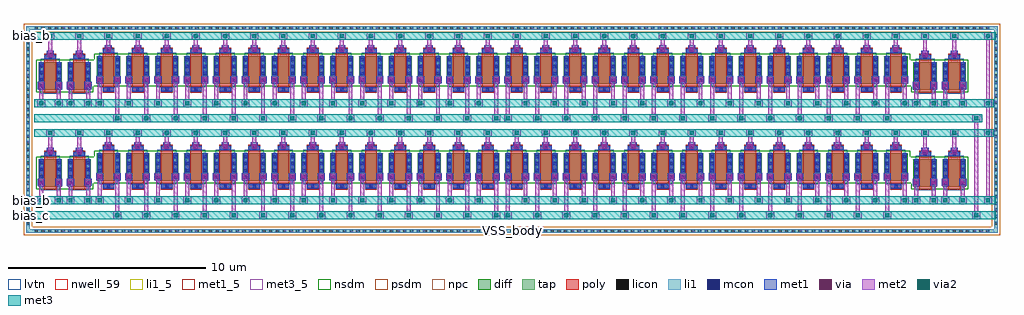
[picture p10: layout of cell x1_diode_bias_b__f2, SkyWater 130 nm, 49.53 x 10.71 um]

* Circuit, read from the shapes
.subckt x1_diode_bias_b__f2 VSS_body bias_b bias_c
XM1 bias_b bias_b bias_b VSS_body sky130_fd_pr__nfet_01v8_lvt w=1.4 l=0.6 m=8
XM2 bias_c bias_b bias_b VSS_body sky130_fd_pr__nfet_01v8_lvt w=1.4 l=0.6 m=56
.ends

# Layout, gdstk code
from math import pi, radians
import gdstk
lib = gdstk.Library(unit=1e-6, precision=1e-09)
def R(c, l, rs):  # rectangles x0, y0, x1, y1
    for r in rs: c.add(gdstk.rectangle(r[:2], r[2:], *l))
def A(c, l, x, y, w, h, nx, ny, dx, dy):  # array of equal rectangles
    R(c, l, [(x+i*dx, y+j*dy, x+i*dx+w, y+j*dy+h) for i in range(nx) for j in range(ny)])
nwell_59 = (64, 59)
diff = (65, 20)
tap = (65, 44)
poly = (66, 20)
licon = (66, 44)
li1_5 = (67, 5)
li1 = (67, 20)
mcon = (67, 44)
met1_5 = (68, 5)
met1 = (68, 20)
via = (68, 44)
met2 = (69, 20)
via2 = (69, 44)
met3_5 = (70, 5)
met3 = (70, 20)
nsdm = (93, 44)
psdm = (94, 20)
npc = (95, 20)
lvtn = (125, 44)

sky130_fd_pr__nfet_01v8_ = lib.new_cell('sky130_fd_pr__nfet_01v8_lvt_RUA5M6')
R(sky130_fd_pr__nfet_01v8_, diff, [(-0.59,-0.855,0.59,0.545)])
R(sky130_fd_pr__nfet_01v8_, poly, [(-0.3,-0.985,0.3,0.985)])
A(sky130_fd_pr__nfet_01v8_, licon, -0.53, -0.75, 0.17, 0.17, 1, 4, 0, 0.34)
A(sky130_fd_pr__nfet_01v8_, licon, 0.36, -0.75, 0.17, 0.17, 1, 4, 0, 0.34)
R(sky130_fd_pr__nfet_01v8_, licon, [(-0.085,0.735,0.085,0.905)])
R(sky130_fd_pr__nfet_01v8_, li1, [(-0.53,-0.875,-0.36,0.565), (0.36,-0.875,0.53,0.565), (-0.3,0.735,0.3,0.905)])
A(sky130_fd_pr__nfet_01v8_, mcon, -0.53, -0.78, 0.17, 0.17, 1, 4, 0, 0.36)
A(sky130_fd_pr__nfet_01v8_, mcon, 0.36, -0.78, 0.17, 0.17, 1, 4, 0, 0.36)
R(sky130_fd_pr__nfet_01v8_, mcon, [(-0.085,0.735,0.085,0.905)])
R(sky130_fd_pr__nfet_01v8_, met1, [(-0.56,-0.855,-0.33,0.545), (0.33,-0.855,0.56,0.545), (-0.28,0.705,0.28,0.935)])
R(sky130_fd_pr__nfet_01v8_, nsdm, [(-0.715,-0.98,0.715,0.67)])
R(sky130_fd_pr__nfet_01v8_, npc, [(-0.185,0.635,0.185,1.005)])
R(sky130_fd_pr__nfet_01v8_, lvtn, [(-0.48,-1.035,0.48,0.725)])
sky130_fd_pr__nfet_01v8_.add(gdstk.Label('D', (-0.445,-0.155), layer=67, texttype=5))
sky130_fd_pr__nfet_01v8_.add(gdstk.Label('S', (0.445,-0.155), layer=67, texttype=5))
sky130_fd_pr__nfet_01v8_.add(gdstk.Label('G', (0,0.82), layer=67, texttype=5))

nfet_01v8_lvt_w1p4_l0p6_ = lib.new_cell('nfet_01v8_lvt_W1p4_L0p6_m8__nf1_gtop_sdfull_ng')
R(nfet_01v8_lvt_w1p4_l0p6_, nwell_59, [(0.05,0.78,0.15,0.88)])
R(nfet_01v8_lvt_w1p4_l0p6_, met1_5, [(0.03,0.83,0.26,1.03), (0.92,0.83,1.15,1.03), (0.31,1.69,0.87,1.92)])
R(nfet_01v8_lvt_w1p4_l0p6_, met1, [(0.03,0.83,0.26,1.03), (0.92,0.83,1.15,1.03), (0.31,1.69,0.87,1.92)])
nfet_01v8_lvt_w1p4_l0p6_.add(gdstk.Reference(sky130_fd_pr__nfet_01v8_, (0.59,0.985)))
nfet_01v8_lvt_w1p4_l0p6_.add(gdstk.Label('D', (0.145,0.93), layer=68, texttype=5))
nfet_01v8_lvt_w1p4_l0p6_.add(gdstk.Label('S', (1.035,0.93), layer=68, texttype=5))
nfet_01v8_lvt_w1p4_l0p6_.add(gdstk.Label('G', (0.59,1.805), layer=68, texttype=5))
nfet_01v8_lvt_w1p4_l0p6_.add(gdstk.Label('B', (0.1,0.83), layer=64, texttype=59))

c_sky130_fd_pr__nfet_01v8_ = lib.new_cell('sky130_fd_pr__nfet_01v8_lvt_KCM6UP')
R(c_sky130_fd_pr__nfet_01v8_, diff, [(-0.59,-0.7,0.59,0.7)])
R(c_sky130_fd_pr__nfet_01v8_, poly, [(-0.3,-1.14,0.3,1.14)])
A(c_sky130_fd_pr__nfet_01v8_, licon, -0.53, -0.595, 0.17, 0.17, 1, 4, 0, 0.34)
A(c_sky130_fd_pr__nfet_01v8_, licon, 0.36, -0.595, 0.17, 0.17, 1, 4, 0, 0.34)
R(c_sky130_fd_pr__nfet_01v8_, licon, [(-0.085,-1.06,0.085,-0.89), (-0.085,0.89,0.085,1.06)])
R(c_sky130_fd_pr__nfet_01v8_, li1, [(-0.3,-1.06,0.3,-0.89), (-0.53,-0.72,-0.36,0.72), (0.36,-0.72,0.53,0.72), (-0.3,0.89,0.3,1.06)])
A(c_sky130_fd_pr__nfet_01v8_, mcon, -0.53, -0.625, 0.17, 0.17, 1, 4, 0, 0.36)
A(c_sky130_fd_pr__nfet_01v8_, mcon, 0.36, -0.625, 0.17, 0.17, 1, 4, 0, 0.36)
R(c_sky130_fd_pr__nfet_01v8_, mcon, [(-0.085,-1.06,0.085,-0.89), (-0.085,0.89,0.085,1.06)])
R(c_sky130_fd_pr__nfet_01v8_, met1, [(-0.28,-1.09,0.28,-0.86), (-0.56,-0.7,-0.33,0.7), (0.33,-0.7,0.56,0.7), (-0.28,0.86,0.28,1.09)])
R(c_sky130_fd_pr__nfet_01v8_, nsdm, [(-0.715,-0.825,0.715,0.825)])
R(c_sky130_fd_pr__nfet_01v8_, npc, [(-0.185,-1.16,0.185,-0.79), (-0.185,0.79,0.185,1.16)])
R(c_sky130_fd_pr__nfet_01v8_, lvtn, [(-0.48,-0.88,0.48,0.88)])
c_sky130_fd_pr__nfet_01v8_.add(gdstk.Label('D', (-0.445,0), layer=67, texttype=5))
c_sky130_fd_pr__nfet_01v8_.add(gdstk.Label('S', (0.445,0), layer=67, texttype=5))
c_sky130_fd_pr__nfet_01v8_.add(gdstk.Label('G', (0,0.975), layer=67, texttype=5))

c_nfet_01v8_lvt_w1p4_l0p6_ = lib.new_cell('nfet_01v8_lvt_W1p4_L0p6_m56__nf1_gboth_sdfull_ng')
R(c_nfet_01v8_lvt_w1p4_l0p6_, nwell_59, [(0.05,1.09,0.15,1.19)])
R(c_nfet_01v8_lvt_w1p4_l0p6_, met1_5, [(0.03,1.14,0.26,1.34), (0.92,1.14,1.15,1.34), (0.31,2,0.87,2.23)])
R(c_nfet_01v8_lvt_w1p4_l0p6_, met1, [(0.03,1.14,0.26,1.34), (0.92,1.14,1.15,1.34), (0.31,2,0.87,2.23)])
c_nfet_01v8_lvt_w1p4_l0p6_.add(gdstk.Reference(c_sky130_fd_pr__nfet_01v8_, (0.59,1.14)))
c_nfet_01v8_lvt_w1p4_l0p6_.add(gdstk.Label('D', (0.145,1.24), layer=68, texttype=5))
c_nfet_01v8_lvt_w1p4_l0p6_.add(gdstk.Label('S', (1.035,1.24), layer=68, texttype=5))
c_nfet_01v8_lvt_w1p4_l0p6_.add(gdstk.Label('G', (0.59,2.115), layer=68, texttype=5))
c_nfet_01v8_lvt_w1p4_l0p6_.add(gdstk.Label('B', (0.1,1.14), layer=64, texttype=59))

x1_diode_bias_b__f2 = lib.new_cell('x1_diode_bias_b__f2')
R(x1_diode_bias_b__f2, tap, [(-0.485,-2.185,48.795,-2.015), (-0.485,-2.015,-0.315,8.105), (48.625,-2.015,48.795,8.105), (-0.485,8.105,48.795,8.275)])
A(x1_diode_bias_b__f2, licon, -0.07, -2.185, 0.17, 0.17, 143, 2, 0.34, 10.29)
A(x1_diode_bias_b__f2, licon, -0.485, -1.8, 0.17, 0.17, 1, 29, 0, 0.34)
A(x1_diode_bias_b__f2, licon, 48.625, -1.8, 0.17, 0.17, 1, 29, 0, 0.34)
R(x1_diode_bias_b__f2, li1_5, [(24.105,-2.15,24.205,-2.05)])
R(x1_diode_bias_b__f2, li1, [(-0.485,-2.185,48.795,-2.015), (-0.485,-2.015,-0.315,8.105), (48.625,-2.015,48.795,8.105), (-0.485,8.105,48.795,8.275)])
A(x1_diode_bias_b__f2, met1, 3.495, 2.05, 0.36, 0.36, 28, 2, 1.48, 4.92)
R(x1_diode_bias_b__f2, met1, [(0.09,0.18,0.45,0.54), (0.98,0.18,1.34,0.54), (1.57,0.18,1.93,0.54), (2.46,0.18,2.82,0.54), (44.49,0.18,44.85,0.54), (45.38,0.18,45.74,0.54), (45.97,0.18,46.33,0.54), (46.86,0.18,47.22,0.54), (3.05,0.46,3.41,0.82), (3.94,0.46,4.3,0.82), (4.53,0.46,4.89,0.82), (5.42,0.46,5.78,0.82), (6.01,0.46,6.37,0.82), (6.9,0.46,7.26,0.82), (7.49,0.46,7.85,0.82), (8.38,0.46,8.74,0.82), (8.97,0.46,9.33,0.82), (9.86,0.46,10.22,0.82), (10.45,0.46,10.81,0.82), (11.34,0.46,11.7,0.82), (11.93,0.46,12.29,0.82), (12.82,0.46,13.18,0.82), (13.41,0.46,13.77,0.82), (14.3,0.46,14.66,0.82), (14.89,0.46,15.25,0.82), (15.78,0.46,16.14,0.82), (16.37,0.46,16.73,0.82), (17.26,0.46,17.62,0.82), (17.85,0.46,18.21,0.82), (18.74,0.46,19.1,0.82), (19.33,0.46,19.69,0.82), (20.22,0.46,20.58,0.82), (20.81,0.46,21.17,0.82), (21.7,0.46,22.06,0.82), (22.29,0.46,22.65,0.82), (23.18,0.46,23.54,0.82), (23.77,0.46,24.13,0.82), (24.66,0.46,25.02,0.82), (25.25,0.46,25.61,0.82), (26.14,0.46,26.5,0.82), (26.73,0.46,27.09,0.82), (27.62,0.46,27.98,0.82), (28.21,0.46,28.57,0.82), (29.1,0.46,29.46,0.82), (29.69,0.46,30.05,0.82), (30.58,0.46,30.94,0.82), (31.17,0.46,31.53,0.82), (32.06,0.46,32.42,0.82), (32.65,0.46,33.01,0.82), (33.54,0.46,33.9,0.82), (34.13,0.46,34.49,0.82), (35.02,0.46,35.38,0.82), (35.61,0.46,35.97,0.82), (36.5,0.46,36.86,0.82), (37.09,0.46,37.45,0.82), (37.98,0.46,38.34,0.82), (38.57,0.46,38.93,0.82), (39.46,0.46,39.82,0.82), (40.05,0.46,40.41,0.82), (40.94,0.46,41.3,0.82), (41.53,0.46,41.89,0.82), (42.42,0.46,42.78,0.82), (43.01,0.46,43.37,0.82), (43.9,0.46,44.26,0.82), (0.535,1.77,0.895,2.13), (2.015,1.77,2.375,2.13), (44.935,1.77,45.295,2.13), (46.415,1.77,46.775,2.13), (0.09,5.1,0.45,5.46), (0.98,5.1,1.34,5.46), (1.57,5.1,1.93,5.46), (2.46,5.1,2.82,5.46), (44.49,5.1,44.85,5.46), (45.38,5.1,45.74,5.46), (45.97,5.1,46.33,5.46), (46.86,5.1,47.22,5.46), (3.05,5.38,3.41,5.74), (3.94,5.38,4.3,5.74), (4.53,5.38,4.89,5.74), (5.42,5.38,5.78,5.74), (6.01,5.38,6.37,5.74), (6.9,5.38,7.26,5.74), (7.49,5.38,7.85,5.74), (8.38,5.38,8.74,5.74), (8.97,5.38,9.33,5.74), (9.86,5.38,10.22,5.74), (10.45,5.38,10.81,5.74), (11.34,5.38,11.7,5.74), (11.93,5.38,12.29,5.74), (12.82,5.38,13.18,5.74), (13.41,5.38,13.77,5.74), (14.3,5.38,14.66,5.74), (14.89,5.38,15.25,5.74), (15.78,5.38,16.14,5.74), (16.37,5.38,16.73,5.74), (17.26,5.38,17.62,5.74), (17.85,5.38,18.21,5.74), (18.74,5.38,19.1,5.74), (19.33,5.38,19.69,5.74), (20.22,5.38,20.58,5.74), (20.81,5.38,21.17,5.74), (21.7,5.38,22.06,5.74), (22.29,5.38,22.65,5.74), (23.18,5.38,23.54,5.74), (23.77,5.38,24.13,5.74), (24.66,5.38,25.02,5.74), (25.25,5.38,25.61,5.74), (26.14,5.38,26.5,5.74), (26.73,5.38,27.09,5.74), (27.62,5.38,27.98,5.74), (28.21,5.38,28.57,5.74), (29.1,5.38,29.46,5.74), (29.69,5.38,30.05,5.74), (30.58,5.38,30.94,5.74), (31.17,5.38,31.53,5.74), (32.06,5.38,32.42,5.74), (32.65,5.38,33.01,5.74), (33.54,5.38,33.9,5.74), (34.13,5.38,34.49,5.74), (35.02,5.38,35.38,5.74), (35.61,5.38,35.97,5.74), (36.5,5.38,36.86,5.74), (37.09,5.38,37.45,5.74), (37.98,5.38,38.34,5.74), (38.57,5.38,38.93,5.74), (39.46,5.38,39.82,5.74), (40.05,5.38,40.41,5.74), (40.94,5.38,41.3,5.74), (41.53,5.38,41.89,5.74), (42.42,5.38,42.78,5.74), (43.01,5.38,43.37,5.74), (43.9,5.38,44.26,5.74), (0.535,6.69,0.895,7.05), (2.015,6.69,2.375,7.05), (44.935,6.69,45.295,7.05), (46.415,6.69,46.775,7.05)])
A(x1_diode_bias_b__f2, via, 3.6, 2.155, 0.15, 0.15, 28, 2, 1.48, 4.92)
R(x1_diode_bias_b__f2, via, [(0.195,0.285,0.345,0.435), (1.085,0.285,1.235,0.435), (1.675,0.285,1.825,0.435), (2.565,0.285,2.715,0.435), (44.595,0.285,44.745,0.435), (45.485,0.285,45.635,0.435), (46.075,0.285,46.225,0.435), (46.965,0.285,47.115,0.435), (3.155,0.565,3.305,0.715), (4.045,0.565,4.195,0.715), (4.635,0.565,4.785,0.715), (5.525,0.565,5.675,0.715), (6.115,0.565,6.265,0.715), (7.005,0.565,7.155,0.715), (7.595,0.565,7.745,0.715), (8.485,0.565,8.635,0.715), (9.075,0.565,9.225,0.715), (9.965,0.565,10.115,0.715), (10.555,0.565,10.705,0.715), (11.445,0.565,11.595,0.715), (12.035,0.565,12.185,0.715), (12.925,0.565,13.075,0.715), (13.515,0.565,13.665,0.715), (14.405,0.565,14.555,0.715), (14.995,0.565,15.145,0.715), (15.885,0.565,16.035,0.715), (16.475,0.565,16.625,0.715), (17.365,0.565,17.515,0.715), (17.955,0.565,18.105,0.715), (18.845,0.565,18.995,0.715), (19.435,0.565,19.585,0.715), (20.325,0.565,20.475,0.715), (20.915,0.565,21.065,0.715), (21.805,0.565,21.955,0.715), (22.395,0.565,22.545,0.715), (23.285,0.565,23.435,0.715), (23.875,0.565,24.025,0.715), (24.765,0.565,24.915,0.715), (25.355,0.565,25.505,0.715), (26.245,0.565,26.395,0.715), (26.835,0.565,26.985,0.715), (27.725,0.565,27.875,0.715), (28.315,0.565,28.465,0.715), (29.205,0.565,29.355,0.715), (29.795,0.565,29.945,0.715), (30.685,0.565,30.835,0.715), (31.275,0.565,31.425,0.715), (32.165,0.565,32.315,0.715), (32.755,0.565,32.905,0.715), (33.645,0.565,33.795,0.715), (34.235,0.565,34.385,0.715), (35.125,0.565,35.275,0.715), (35.715,0.565,35.865,0.715), (36.605,0.565,36.755,0.715), (37.195,0.565,37.345,0.715), (38.085,0.565,38.235,0.715), (38.675,0.565,38.825,0.715), (39.565,0.565,39.715,0.715), (40.155,0.565,40.305,0.715), (41.045,0.565,41.195,0.715), (41.635,0.565,41.785,0.715), (42.525,0.565,42.675,0.715), (43.115,0.565,43.265,0.715), (44.005,0.565,44.155,0.715), (0.64,1.875,0.79,2.025), (2.12,1.875,2.27,2.025), (45.04,1.875,45.19,2.025), (46.52,1.875,46.67,2.025), (0.195,5.205,0.345,5.355), (1.085,5.205,1.235,5.355), (1.675,5.205,1.825,5.355), (2.565,5.205,2.715,5.355), (44.595,5.205,44.745,5.355), (45.485,5.205,45.635,5.355), (46.075,5.205,46.225,5.355), (46.965,5.205,47.115,5.355), (3.155,5.485,3.305,5.635), (4.045,5.485,4.195,5.635), (4.635,5.485,4.785,5.635), (5.525,5.485,5.675,5.635), (6.115,5.485,6.265,5.635), (7.005,5.485,7.155,5.635), (7.595,5.485,7.745,5.635), (8.485,5.485,8.635,5.635), (9.075,5.485,9.225,5.635), (9.965,5.485,10.115,5.635), (10.555,5.485,10.705,5.635), (11.445,5.485,11.595,5.635), (12.035,5.485,12.185,5.635), (12.925,5.485,13.075,5.635), (13.515,5.485,13.665,5.635), (14.405,5.485,14.555,5.635), (14.995,5.485,15.145,5.635), (15.885,5.485,16.035,5.635), (16.475,5.485,16.625,5.635), (17.365,5.485,17.515,5.635), (17.955,5.485,18.105,5.635), (18.845,5.485,18.995,5.635), (19.435,5.485,19.585,5.635), (20.325,5.485,20.475,5.635), (20.915,5.485,21.065,5.635), (21.805,5.485,21.955,5.635), (22.395,5.485,22.545,5.635), (23.285,5.485,23.435,5.635), (23.875,5.485,24.025,5.635), (24.765,5.485,24.915,5.635), (25.355,5.485,25.505,5.635), (26.245,5.485,26.395,5.635), (26.835,5.485,26.985,5.635), (27.725,5.485,27.875,5.635), (28.315,5.485,28.465,5.635), (29.205,5.485,29.355,5.635), (29.795,5.485,29.945,5.635), (30.685,5.485,30.835,5.635), (31.275,5.485,31.425,5.635), (32.165,5.485,32.315,5.635), (32.755,5.485,32.905,5.635), (33.645,5.485,33.795,5.635), (34.235,5.485,34.385,5.635), (35.125,5.485,35.275,5.635), (35.715,5.485,35.865,5.635), (36.605,5.485,36.755,5.635), (37.195,5.485,37.345,5.635), (38.085,5.485,38.235,5.635), (38.675,5.485,38.825,5.635), (39.565,5.485,39.715,5.635), (40.155,5.485,40.305,5.635), (41.045,5.485,41.195,5.635), (41.635,5.485,41.785,5.635), (42.525,5.485,42.675,5.635), (43.115,5.485,43.265,5.635), (44.005,5.485,44.155,5.635), (0.64,6.795,0.79,6.945), (2.12,6.795,2.27,6.945), (45.04,6.795,45.19,6.945), (46.52,6.795,46.67,6.945)])
A(x1_diode_bias_b__f2, met2, 3.92, -1.5, 0.4, 0.4, 14, 2, 1.48, 4.92)
A(x1_diode_bias_b__f2, met2, 23.75, -1.5, 0.4, 0.4, 14, 2, 1.48, 4.92)
A(x1_diode_bias_b__f2, met2, 4.02, -1.1, 0.2, 1.58, 14, 2, 1.48, 4.92)
A(x1_diode_bias_b__f2, met2, 23.85, -1.1, 0.2, 1.58, 14, 2, 1.48, 4.92)
A(x1_diode_bias_b__f2, met2, 3.03, -0.75, 0.4, 0.4, 14, 2, 1.48, 4.92)
A(x1_diode_bias_b__f2, met2, 24.64, -0.75, 0.4, 0.4, 14, 2, 1.48, 4.92)
A(x1_diode_bias_b__f2, met2, 3.13, -0.35, 0.2, 0.83, 14, 2, 1.48, 4.92)
A(x1_diode_bias_b__f2, met2, 24.74, -0.35, 0.2, 0.83, 14, 2, 1.48, 4.92)
A(x1_diode_bias_b__f2, met2, 3.545, 2.07, 0.26, 0.32, 28, 2, 1.48, 4.92)
A(x1_diode_bias_b__f2, met2, 3.575, 2.39, 0.2, 0.28, 28, 2, 1.48, 4.92)
A(x1_diode_bias_b__f2, met2, 0.515, 2.67, 0.4, 0.4, 32, 2, 1.48, 4.92)
R(x1_diode_bias_b__f2, met2, [(47.51,-1.5,47.91,-1.1), (47.61,-1.1,47.81,3.42), (0.07,-0.75,0.47,-0.35), (0.96,-0.75,1.36,-0.35), (1.55,-0.75,1.95,-0.35), (2.44,-0.75,2.84,-0.35), (44.47,-0.75,44.87,-0.35), (45.36,-0.75,45.76,-0.35), (45.95,-0.75,46.35,-0.35), (46.84,-0.75,47.24,-0.35), (48.11,-0.75,48.51,-0.35), (0.17,-0.35,0.37,0.2), (1.06,-0.35,1.26,0.2), (1.65,-0.35,1.85,0.2), (2.54,-0.35,2.74,0.2), (44.57,-0.35,44.77,0.2), (45.46,-0.35,45.66,0.2), (46.05,-0.35,46.25,0.2), (46.94,-0.35,47.14,0.2), (48.21,-0.35,48.41,2.67), (0.14,0.2,0.4,0.52), (1.03,0.2,1.29,0.52), (1.62,0.2,1.88,0.52), (2.51,0.2,2.77,0.52), (44.54,0.2,44.8,0.52), (45.43,0.2,45.69,0.52), (46.02,0.2,46.28,0.52), (46.91,0.2,47.17,0.52), (3.1,0.48,3.36,0.8), (3.99,0.48,4.25,0.8), (4.58,0.48,4.84,0.8), (5.47,0.48,5.73,0.8), (6.06,0.48,6.32,0.8), (6.95,0.48,7.21,0.8), (7.54,0.48,7.8,0.8), (8.43,0.48,8.69,0.8), (9.02,0.48,9.28,0.8), (9.91,0.48,10.17,0.8), (10.5,0.48,10.76,0.8), (11.39,0.48,11.65,0.8), (11.98,0.48,12.24,0.8), (12.87,0.48,13.13,0.8), (13.46,0.48,13.72,0.8), (14.35,0.48,14.61,0.8), (14.94,0.48,15.2,0.8), (15.83,0.48,16.09,0.8), (16.42,0.48,16.68,0.8), (17.31,0.48,17.57,0.8), (17.9,0.48,18.16,0.8), (18.79,0.48,19.05,0.8), (19.38,0.48,19.64,0.8), (20.27,0.48,20.53,0.8), (20.86,0.48,21.12,0.8), (21.75,0.48,22.01,0.8), (22.34,0.48,22.6,0.8), (23.23,0.48,23.49,0.8), (23.82,0.48,24.08,0.8), (24.71,0.48,24.97,0.8), (25.3,0.48,25.56,0.8), (26.19,0.48,26.45,0.8), (26.78,0.48,27.04,0.8), (27.67,0.48,27.93,0.8), (28.26,0.48,28.52,0.8), (29.15,0.48,29.41,0.8), (29.74,0.48,30,0.8), (30.63,0.48,30.89,0.8), (31.22,0.48,31.48,0.8), (32.11,0.48,32.37,0.8), (32.7,0.48,32.96,0.8), (33.59,0.48,33.85,0.8), (34.18,0.48,34.44,0.8), (35.07,0.48,35.33,0.8), (35.66,0.48,35.92,0.8), (36.55,0.48,36.81,0.8), (37.14,0.48,37.4,0.8), (38.03,0.48,38.29,0.8), (38.62,0.48,38.88,0.8), (39.51,0.48,39.77,0.8), (40.1,0.48,40.36,0.8), (40.99,0.48,41.25,0.8), (41.58,0.48,41.84,0.8), (42.47,0.48,42.73,0.8), (43.06,0.48,43.32,0.8), (43.95,0.48,44.21,0.8), (0.585,1.79,0.845,2.11), (2.065,1.79,2.325,2.11), (44.985,1.79,45.245,2.11), (46.465,1.79,46.725,2.11), (0.615,2.11,0.815,2.67), (2.095,2.11,2.295,2.67), (45.015,2.11,45.215,2.67), (46.495,2.11,46.695,2.67), (48.11,2.67,48.51,3.07), (48.21,3.07,48.41,4.17), (47.51,3.42,47.91,3.82), (0.07,4.17,0.47,4.57), (0.96,4.17,1.36,4.57), (1.55,4.17,1.95,4.57), (2.44,4.17,2.84,4.57), (44.47,4.17,44.87,4.57), (45.36,4.17,45.76,4.57), (45.95,4.17,46.35,4.57), (46.84,4.17,47.24,4.57), (48.11,4.17,48.51,4.57), (0.17,4.57,0.37,5.12), (1.06,4.57,1.26,5.12), (1.65,4.57,1.85,5.12), (2.54,4.57,2.74,5.12), (44.57,4.57,44.77,5.12), (45.46,4.57,45.66,5.12), (46.05,4.57,46.25,5.12), (46.94,4.57,47.14,5.12), (48.21,4.57,48.41,7.59), (0.14,5.12,0.4,5.44), (1.03,5.12,1.29,5.44), (1.62,5.12,1.88,5.44), (2.51,5.12,2.77,5.44), (44.54,5.12,44.8,5.44), (45.43,5.12,45.69,5.44), (46.02,5.12,46.28,5.44), (46.91,5.12,47.17,5.44), (3.1,5.4,3.36,5.72), (3.99,5.4,4.25,5.72), (4.58,5.4,4.84,5.72), (5.47,5.4,5.73,5.72), (6.06,5.4,6.32,5.72), (6.95,5.4,7.21,5.72), (7.54,5.4,7.8,5.72), (8.43,5.4,8.69,5.72), (9.02,5.4,9.28,5.72), (9.91,5.4,10.17,5.72), (10.5,5.4,10.76,5.72), (11.39,5.4,11.65,5.72), (11.98,5.4,12.24,5.72), (12.87,5.4,13.13,5.72), (13.46,5.4,13.72,5.72), (14.35,5.4,14.61,5.72), (14.94,5.4,15.2,5.72), (15.83,5.4,16.09,5.72), (16.42,5.4,16.68,5.72), (17.31,5.4,17.57,5.72), (17.9,5.4,18.16,5.72), (18.79,5.4,19.05,5.72), (19.38,5.4,19.64,5.72), (20.27,5.4,20.53,5.72), (20.86,5.4,21.12,5.72), (21.75,5.4,22.01,5.72), (22.34,5.4,22.6,5.72), (23.23,5.4,23.49,5.72), (23.82,5.4,24.08,5.72), (24.71,5.4,24.97,5.72), (25.3,5.4,25.56,5.72), (26.19,5.4,26.45,5.72), (26.78,5.4,27.04,5.72), (27.67,5.4,27.93,5.72), (28.26,5.4,28.52,5.72), (29.15,5.4,29.41,5.72), (29.74,5.4,30,5.72), (30.63,5.4,30.89,5.72), (31.22,5.4,31.48,5.72), (32.11,5.4,32.37,5.72), (32.7,5.4,32.96,5.72), (33.59,5.4,33.85,5.72), (34.18,5.4,34.44,5.72), (35.07,5.4,35.33,5.72), (35.66,5.4,35.92,5.72), (36.55,5.4,36.81,5.72), (37.14,5.4,37.4,5.72), (38.03,5.4,38.29,5.72), (38.62,5.4,38.88,5.72), (39.51,5.4,39.77,5.72), (40.1,5.4,40.36,5.72), (40.99,5.4,41.25,5.72), (41.58,5.4,41.84,5.72), (42.47,5.4,42.73,5.72), (43.06,5.4,43.32,5.72), (43.95,5.4,44.21,5.72), (0.585,6.71,0.845,7.03), (2.065,6.71,2.325,7.03), (44.985,6.71,45.245,7.03), (46.465,6.71,46.725,7.03), (0.615,7.03,0.815,7.59), (2.095,7.03,2.295,7.59), (45.015,7.03,45.215,7.59), (46.495,7.03,46.695,7.59), (48.11,7.59,48.51,7.99)])
A(x1_diode_bias_b__f2, via2, 4.02, -1.4, 0.2, 0.2, 14, 2, 1.48, 4.92)
A(x1_diode_bias_b__f2, via2, 23.85, -1.4, 0.2, 0.2, 14, 2, 1.48, 4.92)
A(x1_diode_bias_b__f2, via2, 3.13, -0.65, 0.2, 0.2, 14, 2, 1.48, 4.92)
A(x1_diode_bias_b__f2, via2, 24.74, -0.65, 0.2, 0.2, 14, 2, 1.48, 4.92)
A(x1_diode_bias_b__f2, via2, 0.615, 2.77, 0.2, 0.2, 32, 2, 1.48, 4.92)
R(x1_diode_bias_b__f2, via2, [(47.61,-1.4,47.81,-1.2), (0.17,-0.65,0.37,-0.45), (1.06,-0.65,1.26,-0.45), (1.65,-0.65,1.85,-0.45), (2.54,-0.65,2.74,-0.45), (44.57,-0.65,44.77,-0.45), (45.46,-0.65,45.66,-0.45), (46.05,-0.65,46.25,-0.45), (46.94,-0.65,47.14,-0.45), (48.21,-0.65,48.41,-0.45), (48.21,2.77,48.41,2.97), (47.61,3.52,47.81,3.72), (0.17,4.27,0.37,4.47), (1.06,4.27,1.26,4.47), (1.65,4.27,1.85,4.47), (2.54,4.27,2.74,4.47), (44.57,4.27,44.77,4.47), (45.46,4.27,45.66,4.47), (46.05,4.27,46.25,4.47), (46.94,4.27,47.14,4.47), (48.21,4.27,48.41,4.47), (48.21,7.69,48.41,7.89)])
R(x1_diode_bias_b__f2, met3_5, [(-0.3,-1.35,-0.2,-1.25), (-0.3,-0.6,-0.2,-0.5), (-0.3,7.74,-0.2,7.84)])
R(x1_diode_bias_b__f2, met3, [(-0.4,-1.5,48.71,-1.1), (-0.4,-0.75,48.71,-0.35), (-0.1,2.67,48.61,3.07), (-0.1,3.42,48.01,3.82), (-0.1,4.17,48.61,4.57), (-0.4,7.59,48.71,7.99)])
A(x1_diode_bias_b__f2, nsdm, 4.395, 0.315, 0.05, 1.65, 27, 2, 1.48, 4.92)
R(x1_diode_bias_b__f2, nsdm, [(1.435,0.005,1.485,1.655), (45.835,0.005,45.885,1.655), (2.915,0.315,2.965,1.655), (44.355,0.315,44.405,1.655), (1.435,4.925,1.485,6.575), (45.835,4.925,45.885,6.575), (2.915,5.235,2.965,6.575), (44.355,5.235,44.405,6.575)])
R(x1_diode_bias_b__f2, psdm, [(-0.61,-2.31,48.92,-1.89), (-0.61,-1.89,-0.19,7.98), (48.5,-1.89,48.92,7.98), (-0.61,7.98,48.92,8.4)])
x1_diode_bias_b__f2.add(gdstk.Reference(nfet_01v8_lvt_w1p4_l0p6_, (46.01,4.92)))
x1_diode_bias_b__f2.add(gdstk.Reference(nfet_01v8_lvt_w1p4_l0p6_, (44.53,4.92)))
x1_diode_bias_b__f2.add(gdstk.Reference(nfet_01v8_lvt_w1p4_l0p6_, (1.61,4.92)))
x1_diode_bias_b__f2.add(gdstk.Reference(nfet_01v8_lvt_w1p4_l0p6_, (0.13,4.92)))
x1_diode_bias_b__f2.add(gdstk.Reference(nfet_01v8_lvt_w1p4_l0p6_, (46.01,0)))
x1_diode_bias_b__f2.add(gdstk.Reference(nfet_01v8_lvt_w1p4_l0p6_, (44.53,0)))
x1_diode_bias_b__f2.add(gdstk.Reference(nfet_01v8_lvt_w1p4_l0p6_, (1.61,0)))
x1_diode_bias_b__f2.add(gdstk.Reference(nfet_01v8_lvt_w1p4_l0p6_, (0.13,0)))
x1_diode_bias_b__f2.add(gdstk.Reference(c_nfet_01v8_lvt_w1p4_l0p6_, (3.09,0)))
x1_diode_bias_b__f2.add(gdstk.Reference(c_nfet_01v8_lvt_w1p4_l0p6_, (4.57,0)))
x1_diode_bias_b__f2.add(gdstk.Reference(c_nfet_01v8_lvt_w1p4_l0p6_, (6.05,0)))
x1_diode_bias_b__f2.add(gdstk.Reference(c_nfet_01v8_lvt_w1p4_l0p6_, (7.53,0)))
x1_diode_bias_b__f2.add(gdstk.Reference(c_nfet_01v8_lvt_w1p4_l0p6_, (9.01,0)))
x1_diode_bias_b__f2.add(gdstk.Reference(c_nfet_01v8_lvt_w1p4_l0p6_, (10.49,0)))
x1_diode_bias_b__f2.add(gdstk.Reference(c_nfet_01v8_lvt_w1p4_l0p6_, (11.97,0)))
x1_diode_bias_b__f2.add(gdstk.Reference(c_nfet_01v8_lvt_w1p4_l0p6_, (13.45,0)))
x1_diode_bias_b__f2.add(gdstk.Reference(c_nfet_01v8_lvt_w1p4_l0p6_, (14.93,0)))
x1_diode_bias_b__f2.add(gdstk.Reference(c_nfet_01v8_lvt_w1p4_l0p6_, (16.41,0)))
x1_diode_bias_b__f2.add(gdstk.Reference(c_nfet_01v8_lvt_w1p4_l0p6_, (17.89,0)))
x1_diode_bias_b__f2.add(gdstk.Reference(c_nfet_01v8_lvt_w1p4_l0p6_, (19.37,0)))
x1_diode_bias_b__f2.add(gdstk.Reference(c_nfet_01v8_lvt_w1p4_l0p6_, (20.85,0)))
x1_diode_bias_b__f2.add(gdstk.Reference(c_nfet_01v8_lvt_w1p4_l0p6_, (22.33,0)))
x1_diode_bias_b__f2.add(gdstk.Reference(c_nfet_01v8_lvt_w1p4_l0p6_, (24.99,0), rotation=pi, x_reflection=True))
x1_diode_bias_b__f2.add(gdstk.Reference(c_nfet_01v8_lvt_w1p4_l0p6_, (26.47,0), rotation=pi, x_reflection=True))
x1_diode_bias_b__f2.add(gdstk.Reference(c_nfet_01v8_lvt_w1p4_l0p6_, (27.95,0), rotation=pi, x_reflection=True))
x1_diode_bias_b__f2.add(gdstk.Reference(c_nfet_01v8_lvt_w1p4_l0p6_, (29.43,0), rotation=pi, x_reflection=True))
x1_diode_bias_b__f2.add(gdstk.Reference(c_nfet_01v8_lvt_w1p4_l0p6_, (30.91,0), rotation=pi, x_reflection=True))
x1_diode_bias_b__f2.add(gdstk.Reference(c_nfet_01v8_lvt_w1p4_l0p6_, (32.39,0), rotation=pi, x_reflection=True))
x1_diode_bias_b__f2.add(gdstk.Reference(c_nfet_01v8_lvt_w1p4_l0p6_, (33.87,0), rotation=pi, x_reflection=True))
x1_diode_bias_b__f2.add(gdstk.Reference(c_nfet_01v8_lvt_w1p4_l0p6_, (35.35,0), rotation=pi, x_reflection=True))
x1_diode_bias_b__f2.add(gdstk.Reference(c_nfet_01v8_lvt_w1p4_l0p6_, (36.83,0), rotation=pi, x_reflection=True))
x1_diode_bias_b__f2.add(gdstk.Reference(c_nfet_01v8_lvt_w1p4_l0p6_, (38.31,0), rotation=pi, x_reflection=True))
x1_diode_bias_b__f2.add(gdstk.Reference(c_nfet_01v8_lvt_w1p4_l0p6_, (39.79,0), rotation=pi, x_reflection=True))
x1_diode_bias_b__f2.add(gdstk.Reference(c_nfet_01v8_lvt_w1p4_l0p6_, (41.27,0), rotation=pi, x_reflection=True))
x1_diode_bias_b__f2.add(gdstk.Reference(c_nfet_01v8_lvt_w1p4_l0p6_, (42.75,0), rotation=pi, x_reflection=True))
x1_diode_bias_b__f2.add(gdstk.Reference(c_nfet_01v8_lvt_w1p4_l0p6_, (44.23,0), rotation=pi, x_reflection=True))
x1_diode_bias_b__f2.add(gdstk.Reference(c_nfet_01v8_lvt_w1p4_l0p6_, (3.09,4.92)))
x1_diode_bias_b__f2.add(gdstk.Reference(c_nfet_01v8_lvt_w1p4_l0p6_, (4.57,4.92)))
x1_diode_bias_b__f2.add(gdstk.Reference(c_nfet_01v8_lvt_w1p4_l0p6_, (6.05,4.92)))
x1_diode_bias_b__f2.add(gdstk.Reference(c_nfet_01v8_lvt_w1p4_l0p6_, (7.53,4.92)))
x1_diode_bias_b__f2.add(gdstk.Reference(c_nfet_01v8_lvt_w1p4_l0p6_, (9.01,4.92)))
x1_diode_bias_b__f2.add(gdstk.Reference(c_nfet_01v8_lvt_w1p4_l0p6_, (10.49,4.92)))
x1_diode_bias_b__f2.add(gdstk.Reference(c_nfet_01v8_lvt_w1p4_l0p6_, (11.97,4.92)))
x1_diode_bias_b__f2.add(gdstk.Reference(c_nfet_01v8_lvt_w1p4_l0p6_, (13.45,4.92)))
x1_diode_bias_b__f2.add(gdstk.Reference(c_nfet_01v8_lvt_w1p4_l0p6_, (14.93,4.92)))
x1_diode_bias_b__f2.add(gdstk.Reference(c_nfet_01v8_lvt_w1p4_l0p6_, (16.41,4.92)))
x1_diode_bias_b__f2.add(gdstk.Reference(c_nfet_01v8_lvt_w1p4_l0p6_, (17.89,4.92)))
x1_diode_bias_b__f2.add(gdstk.Reference(c_nfet_01v8_lvt_w1p4_l0p6_, (19.37,4.92)))
x1_diode_bias_b__f2.add(gdstk.Reference(c_nfet_01v8_lvt_w1p4_l0p6_, (20.85,4.92)))
x1_diode_bias_b__f2.add(gdstk.Reference(c_nfet_01v8_lvt_w1p4_l0p6_, (22.33,4.92)))
x1_diode_bias_b__f2.add(gdstk.Reference(c_nfet_01v8_lvt_w1p4_l0p6_, (24.99,4.92), rotation=pi, x_reflection=True))
x1_diode_bias_b__f2.add(gdstk.Reference(c_nfet_01v8_lvt_w1p4_l0p6_, (26.47,4.92), rotation=pi, x_reflection=True))
x1_diode_bias_b__f2.add(gdstk.Reference(c_nfet_01v8_lvt_w1p4_l0p6_, (27.95,4.92), rotation=pi, x_reflection=True))
x1_diode_bias_b__f2.add(gdstk.Reference(c_nfet_01v8_lvt_w1p4_l0p6_, (29.43,4.92), rotation=pi, x_reflection=True))
x1_diode_bias_b__f2.add(gdstk.Reference(c_nfet_01v8_lvt_w1p4_l0p6_, (30.91,4.92), rotation=pi, x_reflection=True))
x1_diode_bias_b__f2.add(gdstk.Reference(c_nfet_01v8_lvt_w1p4_l0p6_, (32.39,4.92), rotation=pi, x_reflection=True))
x1_diode_bias_b__f2.add(gdstk.Reference(c_nfet_01v8_lvt_w1p4_l0p6_, (33.87,4.92), rotation=pi, x_reflection=True))
x1_diode_bias_b__f2.add(gdstk.Reference(c_nfet_01v8_lvt_w1p4_l0p6_, (35.35,4.92), rotation=pi, x_reflection=True))
x1_diode_bias_b__f2.add(gdstk.Reference(c_nfet_01v8_lvt_w1p4_l0p6_, (36.83,4.92), rotation=pi, x_reflection=True))
x1_diode_bias_b__f2.add(gdstk.Reference(c_nfet_01v8_lvt_w1p4_l0p6_, (38.31,4.92), rotation=pi, x_reflection=True))
x1_diode_bias_b__f2.add(gdstk.Reference(c_nfet_01v8_lvt_w1p4_l0p6_, (39.79,4.92), rotation=pi, x_reflection=True))
x1_diode_bias_b__f2.add(gdstk.Reference(c_nfet_01v8_lvt_w1p4_l0p6_, (41.27,4.92), rotation=pi, x_reflection=True))
x1_diode_bias_b__f2.add(gdstk.Reference(c_nfet_01v8_lvt_w1p4_l0p6_, (42.75,4.92), rotation=pi, x_reflection=True))
x1_diode_bias_b__f2.add(gdstk.Reference(c_nfet_01v8_lvt_w1p4_l0p6_, (44.23,4.92), rotation=pi, x_reflection=True))
x1_diode_bias_b__f2.add(gdstk.Label('bias_b', (-0.25,7.79), layer=70, texttype=5))
x1_diode_bias_b__f2.add(gdstk.Label('bias_b', (-0.25,-0.55), layer=70, texttype=5))
x1_diode_bias_b__f2.add(gdstk.Label('bias_c', (-0.25,-1.3), layer=70, texttype=5))
x1_diode_bias_b__f2.add(gdstk.Label('VSS_body', (24.155,-2.1), layer=67, texttype=5))

lib.write_gds('x1_diode_bias_b__f2.gds')
